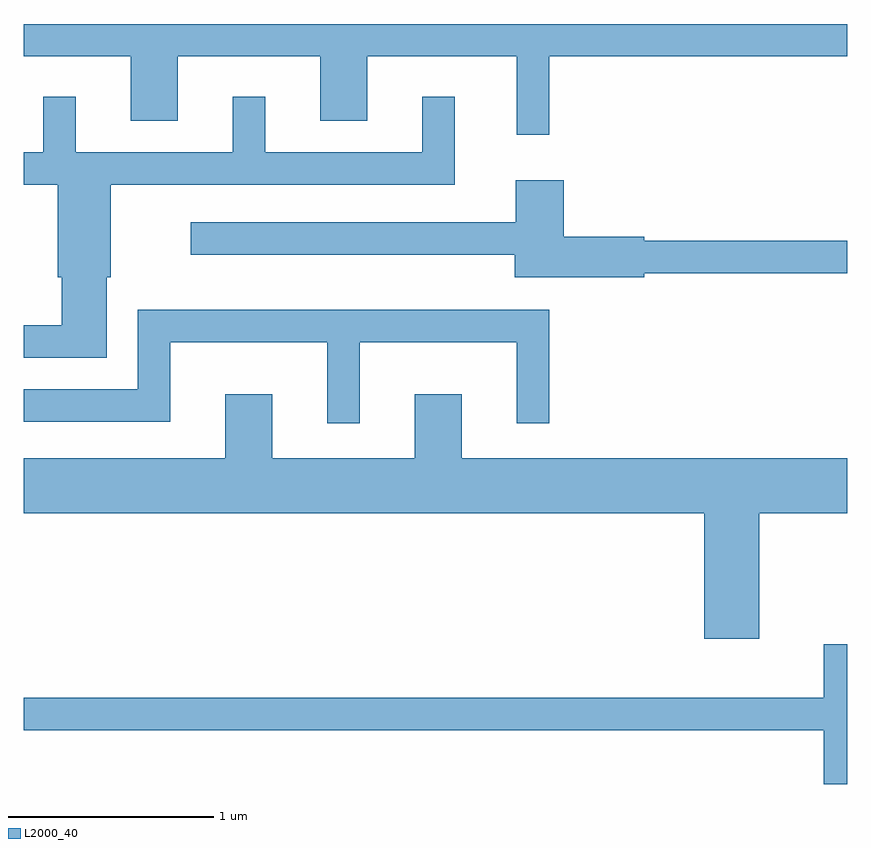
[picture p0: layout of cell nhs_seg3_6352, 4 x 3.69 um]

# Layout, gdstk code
import gdstk
lib = gdstk.Library(unit=1e-6, precision=1e-09)
def P(c, l, *ps):  # polygons
    for p in ps: c.add(gdstk.Polygon(p, *l))
L2000_40 = (2000, 40)

nhs_seg3_6352 = lib.new_cell('nhs_seg3_6352')
P(nhs_seg3_6352, L2000_40, [(374.164,1183.736),(375.611,1183.736),(375.611,1183.892),(371.611,1183.892),(371.611,1183.736),(372.131,1183.736),(372.131,1183.421),(372.359,1183.421),(372.359,1183.736),(373.051,1183.736),(373.051,1183.421),(373.279,1183.421),(373.279,1183.736),(374.006,1183.736),(374.006,1183.353),(374.164,1183.353)],
  [(372.014,1182.661),(372.034,1182.661),(372.034,1183.111),(373.704,1183.111),(373.704,1183.538),(373.546,1183.538),(373.546,1183.269),(372.784,1183.269),(372.784,1183.538),(372.626,1183.538),(372.626,1183.269),(371.864,1183.269),(371.864,1183.538),(371.706,1183.538),(371.706,1183.269),(371.611,1183.269),(371.611,1183.111),(371.776,1183.111),(371.776,1182.661),(371.796,1182.661),(371.796,1182.429),(371.611,1182.429),(371.611,1182.271),(372.014,1182.271)],
  [(374.624,1182.681),(375.611,1182.681),(375.611,1182.839),(374.624,1182.839),(374.624,1182.859),(374.234,1182.859),(374.234,1183.134),(374.001,1183.134),(374.001,1182.929),(372.423,1182.929),(372.423,1182.771),(373.996,1182.771),(373.996,1182.661),(374.624,1182.661)],
  [(373.244,1182.346),(374.006,1182.346),(374.006,1181.953),(374.164,1181.953),(374.164,1182.504),(372.166,1182.504),(372.166,1182.119),(371.611,1182.119),(371.611,1181.961),(372.324,1181.961),(372.324,1182.346),(373.086,1182.346),(373.086,1181.953),(373.244,1181.953)],
  [(375.184,1181.516),(375.611,1181.516),(375.611,1181.784),(373.739,1181.784),(373.739,1182.094),(373.511,1182.094),(373.511,1181.784),(372.819,1181.784),(372.819,1182.094),(372.591,1182.094),(372.591,1181.784),(371.611,1181.784),(371.611,1181.516),(374.916,1181.516),(374.916,1180.906),(375.184,1180.906)],
  [(375.611,1180.879),(375.496,1180.879),(375.496,1180.619),(371.611,1180.619),(371.611,1180.461),(375.496,1180.461),(375.496,1180.201),(375.611,1180.201)])

lib.write_gds('nhs_seg3_6352.gds')
